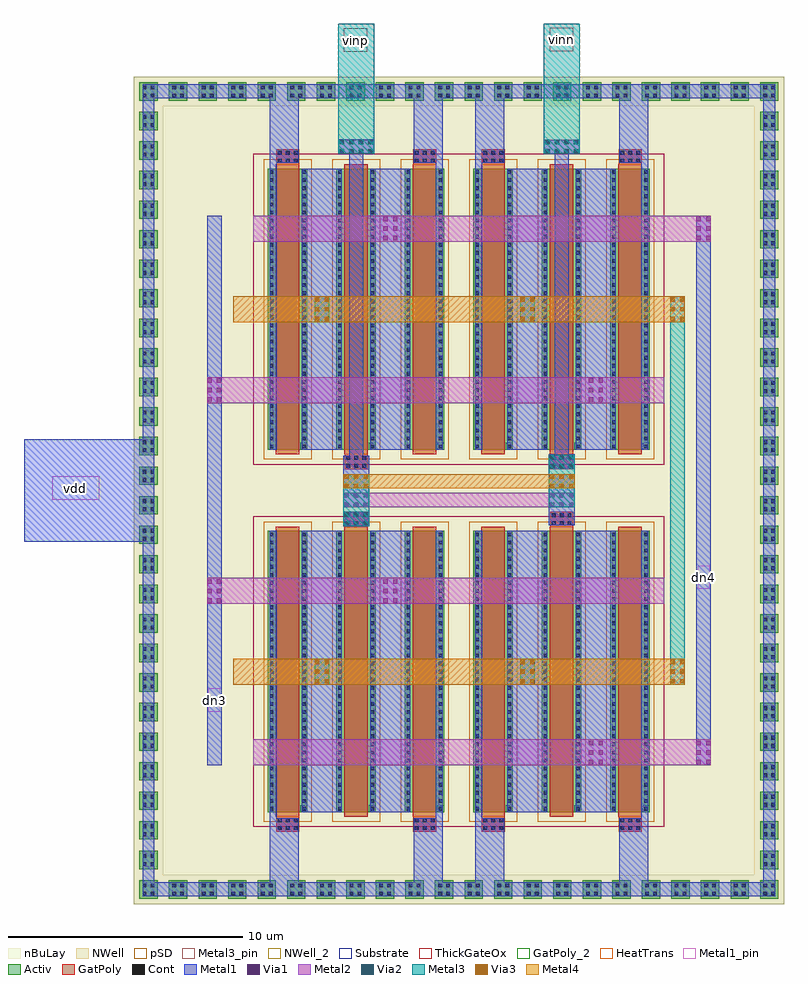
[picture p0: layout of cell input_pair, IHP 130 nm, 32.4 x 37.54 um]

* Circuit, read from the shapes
.subckt input_pair dn3 dn4 vdd vinn vinp
XM1 n1 vdd vdd vdd sg13_hv_pmos w=12u l=1u m=4
XM2 dn3 vinn n1 vdd sg13_hv_pmos w=12u l=1u m=2
XM3 dn4 vinp n1 vdd sg13_hv_pmos w=12u l=1u m=2
XM4 vdd vdd dn3 vdd sg13_hv_pmos w=12u l=1u m=2
XM5 vdd vdd dn4 vdd sg13_hv_pmos w=12u l=1u m=2
.ends

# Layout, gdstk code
import gdstk
lib = gdstk.Library(unit=1e-6, precision=1e-09)
def R(c, l, rs):  # rectangles x0, y0, x1, y1
    for r in rs: c.add(gdstk.rectangle(r[:2], r[2:], *l))
def A(c, l, x, y, w, h, nx, ny, dx, dy):  # array of equal rectangles
    R(c, l, [(x+i*dx, y+j*dy, x+i*dx+w, y+j*dy+h) for i in range(nx) for j in range(ny)])
Activ = (1, 0)
GatPoly = (5, 0)
GatPoly_2 = (5, 2)
Cont = (6, 0)
Metal1 = (8, 0)
Metal1_pin = (8, 2)
Metal2 = (10, 0)
pSD = (14, 0)
Via1 = (19, 0)
Via2 = (29, 0)
Metal3 = (30, 0)
Metal3_pin = (30, 2)
NWell = (31, 0)
NWell_2 = (31, 2)
nBuLay = (32, 0)
Substrate = (40, 0)
ThickGateOx = (44, 0)
Via3 = (49, 0)
Metal4 = (50, 0)
HeatTrans = (51, 0)

ntap1 = lib.new_cell('ntap1')
R(ntap1, Activ, [(0,0,0.78,0.78)])
R(ntap1, Cont, [(0.14,0.14,0.3,0.3), (0.48,0.14,0.64,0.3), (0.14,0.48,0.3,0.64), (0.48,0.48,0.64,0.64)])
R(ntap1, Metal1, [(0.14,0.09,0.64,0.69)])
R(ntap1, Metal1_pin, [(0.14,0.09,0.64,0.69), (0.14,0.14,0.64,0.64)])
R(ntap1, NWell, [(-0.24,-0.24,1.02,1.02), (0,0,0.78,0.78)])
R(ntap1, NWell_2, [(0,0,0.78,0.78)])
R(ntap1, nBuLay, [(-0.24,-0.24,1.02,1.02)])
ntap1.add(gdstk.Label('well', (0.39,0.01), layer=31, texttype=0))
ntap1.add(gdstk.Label('well', (0.39,0.01), layer=63, texttype=0))

pmoshv_1 = lib.new_cell('pmosHV$1')
R(pmoshv_1, Activ, [(0,0,0.3,0.3), (0,0,1.68,12), (1.38,0,1.68,0.3)])
R(pmoshv_1, GatPoly, [(0.34,-0.18,1.34,12.18)])
R(pmoshv_1, GatPoly_2, [(0.34,-0.18,1.34,12.18)])
A(pmoshv_1, Cont, 0.07, 0.41, 0.16, 0.16, 1, 5, 0, 0.345)
A(pmoshv_1, Cont, 1.45, 0.41, 0.16, 0.16, 1, 5, 0, 0.345)
A(pmoshv_1, Cont, 0.07, 2.13, 0.16, 0.16, 1, 6, 0, 0.345)
A(pmoshv_1, Cont, 1.45, 2.13, 0.16, 0.16, 1, 6, 0, 0.345)
A(pmoshv_1, Cont, 0.07, 4.195, 0.16, 0.16, 1, 6, 0, 0.345)
A(pmoshv_1, Cont, 1.45, 4.195, 0.16, 0.16, 1, 6, 0, 0.345)
A(pmoshv_1, Cont, 0.07, 6.26, 0.16, 0.16, 1, 5, 0, 0.345)
A(pmoshv_1, Cont, 1.45, 6.26, 0.16, 0.16, 1, 5, 0, 0.345)
A(pmoshv_1, Cont, 0.07, 7.98, 0.16, 0.16, 1, 6, 0, 0.345)
A(pmoshv_1, Cont, 1.45, 7.98, 0.16, 0.16, 1, 6, 0, 0.345)
A(pmoshv_1, Cont, 0.07, 10.045, 0.16, 0.16, 1, 6, 0, 0.345)
A(pmoshv_1, Cont, 1.45, 10.045, 0.16, 0.16, 1, 6, 0, 0.345)
R(pmoshv_1, Cont, [(0.07,0.07,0.23,0.23), (1.45,0.07,1.61,0.23)])
R(pmoshv_1, Metal1, [(0.07,0,0.23,12), (1.45,0,1.61,12)])
R(pmoshv_1, Metal1_pin, [(0.07,0,0.23,12), (1.45,0,1.61,12)])
R(pmoshv_1, pSD, [(-0.18,-0.4,1.86,12.4)])
R(pmoshv_1, NWell, [(-0.62,-0.62,2.3,12.62)])
R(pmoshv_1, Substrate, [(1.38,0,1.68,0.3)])
R(pmoshv_1, ThickGateOx, [(-0.62,-0.62,2.3,12.62)])
R(pmoshv_1, HeatTrans, [(0.34,-0.18,1.34,12.18)])
pmoshv_1.add(gdstk.Label('pmosHV', (0.84,6), layer=63, texttype=0))
pmoshv_1.add(gdstk.Label('pmos', (0.84,6), layer=51, texttype=0))

via_stack = lib.new_cell('via_stack')
R(via_stack, GatPoly, [(-0.49,-0.32,0.49,0.32)])
A(via_stack, Cont, -0.42, -0.25, 0.16, 0.16, 3, 2, 0.34, 0.34)
R(via_stack, Metal1, [(-0.47,-0.25,0.47,0.25)])

via_stack_3 = lib.new_cell('via_stack$3')
R(via_stack_3, Metal1, [(-0.31,-0.555,0.31,0.555)])
R(via_stack_3, Metal2, [(-0.305,-0.555,0.305,0.555)])
A(via_stack_3, Via1, -0.3, -0.505, 0.19, 0.19, 1, 3, 0, 0.41)
A(via_stack_3, Via1, 0.11, -0.505, 0.19, 0.19, 1, 3, 0, 0.41)
A(via_stack_3, Via2, -0.3, -0.505, 0.19, 0.19, 1, 3, 0, 0.41)
A(via_stack_3, Via2, 0.11, -0.505, 0.19, 0.19, 1, 3, 0, 0.41)
R(via_stack_3, Metal3, [(-0.305,-0.555,0.305,0.555)])
A(via_stack_3, Via3, -0.3, -0.505, 0.19, 0.19, 1, 3, 0, 0.41)
A(via_stack_3, Via3, 0.11, -0.505, 0.19, 0.19, 1, 3, 0, 0.41)
R(via_stack_3, Metal4, [(-0.305,-0.555,0.305,0.555)])

via_stack_1 = lib.new_cell('via_stack$1')
R(via_stack_1, Metal3, [(-0.305,-0.555,0.305,0.555)])
A(via_stack_1, Via3, -0.3, -0.505, 0.19, 0.19, 1, 3, 0, 0.41)
A(via_stack_1, Via3, 0.11, -0.505, 0.19, 0.19, 1, 3, 0, 0.41)
R(via_stack_1, Metal4, [(-0.305,-0.555,0.305,0.555)])

via_stack_4 = lib.new_cell('via_stack$4')
R(via_stack_4, Metal1, [(-0.31,-0.555,0.31,0.555)])
R(via_stack_4, Metal2, [(-0.305,-0.555,0.305,0.555)])
A(via_stack_4, Via1, -0.3, -0.505, 0.19, 0.19, 1, 3, 0, 0.41)
A(via_stack_4, Via1, 0.11, -0.505, 0.19, 0.19, 1, 3, 0, 0.41)

via_stack_6 = lib.new_cell('via_stack$6')
R(via_stack_6, Metal1, [(-0.76,-0.31,0.76,0.31)])
R(via_stack_6, Metal2, [(-0.76,-0.305,0.76,0.305)])
A(via_stack_6, Via1, -0.71, -0.3, 0.19, 0.19, 4, 2, 0.41, 0.41)
A(via_stack_6, Via2, -0.71, -0.3, 0.19, 0.19, 4, 2, 0.41, 0.41)
R(via_stack_6, Metal3, [(-0.76,-0.305,0.76,0.305)])

via_stack_7 = lib.new_cell('via_stack$7')
R(via_stack_7, Metal1, [(-0.555,-0.31,0.555,0.31)])
R(via_stack_7, Metal2, [(-0.555,-0.305,0.555,0.305)])
A(via_stack_7, Via1, -0.505, -0.3, 0.19, 0.19, 3, 2, 0.41, 0.41)

via_stack_10 = lib.new_cell('via_stack$10')
R(via_stack_10, GatPoly, [(-0.49,-0.32,0.49,0.32)])
A(via_stack_10, Cont, -0.42, -0.25, 0.16, 0.16, 3, 2, 0.34, 0.34)
R(via_stack_10, Metal1, [(-0.555,-0.31,0.555,0.31)])
R(via_stack_10, Metal2, [(-0.555,-0.305,0.555,0.305)])
A(via_stack_10, Via1, -0.505, -0.3, 0.19, 0.19, 3, 2, 0.41, 0.41)
A(via_stack_10, Via2, -0.505, -0.3, 0.19, 0.19, 3, 2, 0.41, 0.41)
R(via_stack_10, Metal3, [(-0.555,-0.305,0.555,0.305)])

via_stack_11 = lib.new_cell('via_stack$11')
R(via_stack_11, Metal3, [(-0.555,-0.305,0.555,0.305)])
A(via_stack_11, Via3, -0.505, -0.3, 0.19, 0.19, 3, 2, 0.41, 0.41)
R(via_stack_11, Metal4, [(-0.555,-0.305,0.555,0.305)])

input_pair = lib.new_cell('input_pair')
R(input_pair, Metal1, [(-13.48,-17.31,13.48,-16.71), (-13.48,-17.31,-12.98,17.31), (-8.068,-17.31,-6.828,-13.975), (-1.928,-17.31,-0.688,-13.975), (0.693,-17.31,1.933,-13.975), (6.833,-17.31,8.073,-13.975), (12.98,-17.31,13.48,17.31), (-8.07,-14.475,-7.768,-1.725), (-8.068,-14.475,-6.828,-13.975), (-8.068,-14.475,-7.768,-13.86), (-1.928,-14.475,-0.688,-13.975), (-0.988,-14.475,-0.688,-1.725), (0.693,-14.475,1.933,-13.975), (0.693,-14.475,0.993,-1.725), (6.833,-14.475,8.073,-13.975), (7.773,-14.475,8.073,-1.725), (-6.688,-13.725,-4.988,-1.725), (-3.768,-13.725,-2.068,-1.725), (2.073,-13.725,3.773,-1.725), (4.993,-13.725,6.693,-1.725), (-10.738,-11.725,-10.118,11.72), (10.118,-11.725,10.738,11.72), (-18.54,-2.19,-12.98,2.19), (3.825,-1.475,4.935,0.695), (-4.935,-0.715,-3.825,1.475), (-4.68,0.975,-4.08,14.965), (4.08,1.535,4.68,14.96), (-8.07,1.725,-7.768,14.475), (-6.688,1.725,-4.988,13.725), (-3.768,1.725,-2.068,13.725), (-0.988,1.725,-0.688,14.475), (0.693,1.725,0.993,14.475), (2.073,1.725,3.773,13.725), (4.993,1.725,6.693,13.725), (7.773,1.725,8.073,14.475), (-8.07,13.975,-6.828,17.31), (-8.07,13.975,-6.828,14.475), (-1.93,13.975,-0.688,17.31), (-1.928,13.975,-0.688,14.475), (0.693,13.975,1.933,17.31), (0.693,13.975,1.933,14.475), (6.833,13.975,8.073,17.31), (6.833,13.975,8.073,14.475), (-13.48,16.71,13.48,17.31)])
R(input_pair, Metal1_pin, [(-10.68,-9.435,-10.18,-8.435), (10.19,-4.2,10.69,-3.2), (-17.33,-0.4,-15.33,0.6)])
R(input_pair, Metal2, [(-8.758,-11.725,10.738,-10.615), (-10.733,-4.84,8.763,-3.73), (-4.935,-0.71,4.935,-0.1), (-10.733,3.725,8.763,4.835), (-8.758,10.61,10.738,11.72)])
R(input_pair, Metal3, [(9.013,-8.28,9.623,8.28), (-4.935,-1.53,-3.825,0.7), (3.825,-0.715,4.935,1.53), (3.623,14.345,5.143,19.895), (-5.138,14.35,-3.618,19.895)])
R(input_pair, Metal3_pin, [(-4.9,18.695,-3.9,19.695), (3.87,18.72,4.87,19.72)])
R(input_pair, NWell, [(-12.6,-16.38,12.6,16.38)])
R(input_pair, Metal4, [(-9.618,-8.28,-8.758,-7.17), (-8.758,-8.28,9.623,-7.17), (-4.935,0.09,4.935,0.7), (-9.618,7.17,-8.758,8.28), (-8.758,7.17,9.623,8.28)])
r = gdstk.Reference(ntap1, (12.84,-17.4)); r.repetition = gdstk.Repetition(1, 28, v1=(0,0), v2=(0,1.26)); input_pair.add(r)
r = gdstk.Reference(ntap1, (-12.36,16.62)); r.repetition = gdstk.Repetition(20, 1, v1=(1.26,0), v2=(0,0)); input_pair.add(r)
r = gdstk.Reference(ntap1, (-13.62,-17.4)); r.repetition = gdstk.Repetition(1, 28, v1=(0,0), v2=(0,1.26)); input_pair.add(r)
r = gdstk.Reference(ntap1, (-12.36,-17.4)); r.repetition = gdstk.Repetition(20, 1, v1=(1.26,0), v2=(0,0)); input_pair.add(r)
r = gdstk.Reference(pmoshv_1, (-8.14,-13.725)); r.repetition = gdstk.Repetition(6, 1, v1=(2.92,0), v2=(0,0)); input_pair.add(r)
input_pair.add(gdstk.Reference(via_stack, (-7.298,-14.225)))
input_pair.add(gdstk.Reference(via_stack, (-1.458,-14.225)))
input_pair.add(gdstk.Reference(via_stack, (1.463,-14.225)))
input_pair.add(gdstk.Reference(via_stack, (7.303,-14.225)))
input_pair.add(gdstk.Reference(via_stack_3, (2.923,7.725)))
input_pair.add(gdstk.Reference(via_stack_3, (-5.838,7.725)))
input_pair.add(gdstk.Reference(via_stack_1, (9.318,7.725)))
input_pair.add(gdstk.Reference(via_stack_4, (-2.918,-4.285)))
input_pair.add(gdstk.Reference(via_stack_4, (5.843,-11.17)))
input_pair.add(gdstk.Reference(via_stack_4, (10.428,-11.17)))
input_pair.add(gdstk.Reference(via_stack_4, (-10.428,-4.285)))
input_pair.add(gdstk.Reference(via_stack_3, (-5.838,-7.725)))
input_pair.add(gdstk.Reference(via_stack_3, (2.923,-7.725)))
input_pair.add(gdstk.Reference(via_stack_1, (9.318,-7.725)))
input_pair.add(gdstk.Reference(via_stack_4, (-2.918,11.165)))
input_pair.add(gdstk.Reference(via_stack_4, (5.843,4.28)))
input_pair.add(gdstk.Reference(via_stack_4, (10.428,11.165)))
input_pair.add(gdstk.Reference(via_stack_6, (-4.378,14.655)))
input_pair.add(gdstk.Reference(via_stack_6, (4.383,14.65)))
input_pair.add(gdstk.Reference(via_stack, (-7.298,14.225)))
input_pair.add(gdstk.Reference(via_stack, (7.303,14.225)))
input_pair.add(gdstk.Reference(via_stack, (-1.458,14.225)))
input_pair.add(gdstk.Reference(via_stack, (1.463,14.225)))
r = gdstk.Reference(pmoshv_1, (-8.14,1.725)); r.repetition = gdstk.Repetition(6, 1, v1=(2.92,0), v2=(0,0)); input_pair.add(r)
input_pair.add(gdstk.Reference(via_stack, (-4.38,1.225)))
input_pair.add(gdstk.Reference(via_stack, (4.38,-1.225)))
input_pair.add(gdstk.Reference(via_stack_7, (-4.38,-0.405), x_reflection=True))
input_pair.add(gdstk.Reference(via_stack_7, (4.38,-0.405), x_reflection=True))
input_pair.add(gdstk.Reference(via_stack_10, (4.38,1.225)))
input_pair.add(gdstk.Reference(via_stack_11, (4.38,0.395)))
input_pair.add(gdstk.Reference(via_stack_10, (-4.38,-1.225)))
input_pair.add(gdstk.Reference(via_stack_11, (-4.38,0.395)))
input_pair.add(gdstk.Reference(via_stack_4, (-10.428,4.28)))
input_pair.add(gdstk.Label('vdd', (-16.33,0.1), layer=8, texttype=25))
input_pair.add(gdstk.Label('dn3', (-10.43,-8.935), layer=8, texttype=25))
input_pair.add(gdstk.Label('dn4', (10.44,-3.7), layer=8, texttype=25))
input_pair.add(gdstk.Label('vinp', (-4.4,19.195), layer=30, texttype=25))
input_pair.add(gdstk.Label('vinn', (4.37,19.22), layer=30, texttype=25))

lib.write_gds('input_pair.gds')
